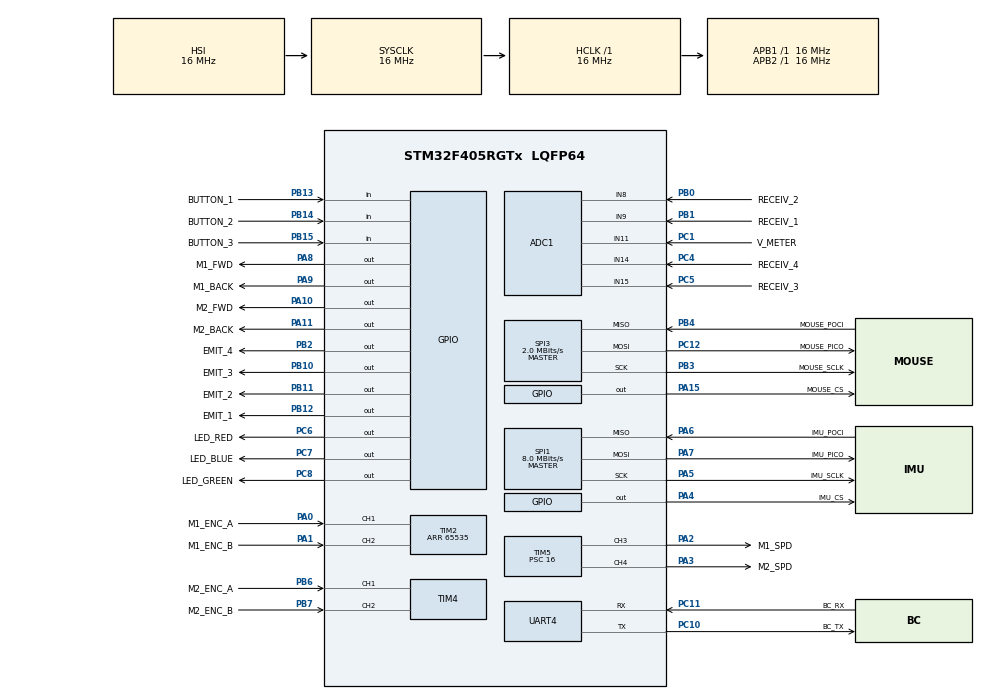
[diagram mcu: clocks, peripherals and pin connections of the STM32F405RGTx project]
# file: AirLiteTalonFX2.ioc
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ADC1.Channel-0\#ChannelRegularConversion=ADC_CHANNEL_14
ADC1.NbrOfConversionFlag=1
ADC1.Rank-0\#ChannelRegularConversion=1
ADC1.SamplingTime-0\#ChannelRegularConversion=ADC_SAMPLETIME_3CYCLES
ADC1.master=1
Mcu.Family=STM32F4
Mcu.Name=STM32F405RGTx
Mcu.Package=LQFP64
NVIC.PriorityGroup=NVIC_PRIORITYGROUP_4
NVIC.TIM2_IRQn=true\:0\:0\:false\:false\:true\:true\:true\:true
NVIC.TIM4_IRQn=true\:0\:0\:false\:false\:true\:true\:true\:true
PA0-WKUP.GPIO_Label=M1_ENC_A
PA0-WKUP.Signal=S_TIM2_CH1_ETR
PA1.GPIO_Label=M1_ENC_B
PA1.Signal=S_TIM2_CH2
PA10.GPIO_Label=M2_FWD
PA10.Signal=GPIO_Output
PA11.GPIO_Label=M2_BACK
PA11.Signal=GPIO_Output
PA13.Mode=Serial_Wire
PA13.Signal=SYS_JTMS-SWDIO
PA14.Mode=Serial_Wire
PA14.Signal=SYS_JTCK-SWCLK
PA15.GPIO_Label=MOUSE_CS
PA15.Signal=GPIO_Output
PA2.GPIO_Label=M1_SPD
PA2.Signal=S_TIM5_CH3
PA3.GPIO_Label=M2_SPD
PA3.Signal=S_TIM5_CH4
PA4.GPIO_Label=IMU_CS
PA4.Signal=GPIO_Output
PA5.GPIO_Label=IMU_SCLK
PA5.Mode=Full_Duplex_Master
PA5.Signal=SPI1_SCK
PA6.GPIO_Label=IMU_POCI
PA6.GPIO_PuPd=GPIO_PULLUP
PA6.Mode=Full_Duplex_Master
PA6.Signal=SPI1_MISO
PA7.GPIO_Label=IMU_PICO
PA7.Mode=Full_Duplex_Master
PA7.Signal=SPI1_MOSI
PA8.GPIO_Label=M1_FWD
PA8.Signal=GPIO_Output
PA9.GPIO_Label=M1_BACK
PA9.Signal=GPIO_Output
PB0.GPIO_Label=RECEIV_2
PB0.Signal=ADCx_IN8
PB1.GPIO_Label=RECEIV_1
PB1.Signal=ADCx_IN9
PB10.GPIO_Label=EMIT_3
PB10.Signal=GPIO_Output
PB11.GPIO_Label=EMIT_2
PB11.Signal=GPIO_Output
PB12.GPIO_Label=EMIT_1
PB12.Signal=GPIO_Output
PB13.GPIO_Label=BUTTON_1
PB13.Signal=GPIO_Input
PB14.GPIO_Label=BUTTON_2
PB14.Signal=GPIO_Input
PB15.GPIO_Label=BUTTON_3
PB15.Signal=GPIO_Input
PB2.GPIO_Label=EMIT_4
PB2.Signal=GPIO_Output
PB3.GPIO_Label=MOUSE_SCLK
PB3.Mode=Full_Duplex_Master
PB3.Signal=SPI3_SCK
PB4.GPIO_Label=MOUSE_POCI
PB4.GPIO_PuPd=GPIO_PULLUP
PB4.Mode=Full_Duplex_Master
PB4.Signal=SPI3_MISO
PB6.GPIO_Label=M2_ENC_A
PB6.Signal=S_TIM4_CH1
PB7.GPIO_Label=M2_ENC_B
PB7.Signal=S_TIM4_CH2
PC1.GPIO_Label=V_METER
PC1.Signal=ADCx_IN11
PC10.GPIO_Label=BC_TX
PC10.Mode=Asynchronous
PC10.Signal=UART4_TX
PC11.GPIO_Label=BC_RX
PC11.Mode=Asynchronous
PC11.Signal=UART4_RX
PC12.GPIO_Label=MOUSE_PICO
PC12.Mode=Full_Duplex_Master
PC12.Signal=SPI3_MOSI
PC4.GPIO_Label=RECEIV_4
PC4.Signal=ADCx_IN14
PC5.GPIO_Label=RECEIV_3
PC5.Signal=ADCx_IN15
PC6.GPIO_Label=LED_RED
PC6.GPIO_ModeDefaultOutputPP=GPIO_MODE_OUTPUT_OD
PC6.GPIO_PuPd=GPIO_PULLUP
PC6.PinState=GPIO_PIN_SET
PC6.Signal=GPIO_Output
PC7.GPIO_Label=LED_BLUE
PC7.GPIO_ModeDefaultOutputPP=GPIO_MODE_OUTPUT_OD
PC7.GPIO_PuPd=GPIO_PULLUP
PC7.PinState=GPIO_PIN_SET
PC7.Signal=GPIO_Output
PC8.GPIO_Label=LED_GREEN
PC8.GPIO_ModeDefaultOutputPP=GPIO_MODE_OUTPUT_OD
PC8.GPIO_PuPd=GPIO_PULLUP
PC8.PinState=GPIO_PIN_SET
PC8.Signal=GPIO_Output
PH0-OSC_IN.Mode=HSE-External-Clock-Source
PH0-OSC_IN.Signal=RCC_OSC_IN
PH1-OSC_OUT.Mode=HSE-External-Clock-Source
PH1-OSC_OUT.Signal=RCC_OSC_OUT
ProjectManager.HeapSize=0x200
ProjectManager.StackSize=0x400
ProjectManager.TargetToolchain=STM32CubeIDE
RCC.AHBFreq_Value=16000000
RCC.APB1Freq_Value=16000000
RCC.APB2Freq_Value=16000000
RCC.CortexFreq_Value=16000000
RCC.HSE_VALUE=25000000
RCC.HSI_VALUE=16000000
RCC.LSE_VALUE=32768
RCC.SYSCLKFreq_VALUE=16000000
RCC.VCOOutputFreq_Value=192000000
SH.ADCx_IN11.0=ADC1_IN11,IN11
SH.ADCx_IN14.0=ADC1_IN14,IN14
SH.ADCx_IN15.0=ADC1_IN15,IN15
SH.ADCx_IN8.0=ADC1_IN8,IN8
SH.ADCx_IN9.0=ADC1_IN9,IN9
SH.S_TIM2_CH1_ETR.0=TIM2_CH1,Encoder_Interface
SH.S_TIM2_CH2.0=TIM2_CH2,Encoder_Interface
SH.S_TIM4_CH1.0=TIM4_CH1,Encoder_Interface
SH.S_TIM4_CH2.0=TIM4_CH2,Encoder_Interface
SH.S_TIM5_CH3.0=TIM5_CH3,PWM Generation3 CH3
SH.S_TIM5_CH4.0=TIM5_CH4,PWM Generation4 CH4
SPI1.CalculateBaudRate=8.0 MBits/s
SPI1.Direction=SPI_DIRECTION_2LINES
SPI1.Mode=SPI_MODE_MASTER
SPI1.VirtualType=VM_MASTER
SPI3.BaudRatePrescaler=SPI_BAUDRATEPRESCALER_8
SPI3.CLKPhase=SPI_PHASE_2EDGE
SPI3.CLKPolarity=SPI_POLARITY_HIGH
SPI3.CalculateBaudRate=2.0 MBits/s
SPI3.Direction=SPI_DIRECTION_2LINES
SPI3.Mode=SPI_MODE_MASTER
SPI3.VirtualType=VM_MASTER
TIM2.EncoderMode=TIM_ENCODERMODE_TI12
TIM2.Period=65535
TIM4.EncoderMode=TIM_ENCODERMODE_TI12
TIM5.AutoReloadPreload=TIM_AUTORELOAD_PRELOAD_ENABLE
TIM5.Channel-PWM\ Generation3\ CH3=TIM_CHANNEL_3
TIM5.Channel-PWM\ Generation4\ CH4=TIM_CHANNEL_4
TIM5.Period=1024
TIM5.Prescaler=16
UART4.VirtualMode=Asynchronous
board=custom

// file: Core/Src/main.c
/* USER CODE BEGIN Header */
/**
  ******************************************************************************
  * @file           : main.c
  * @brief          : Main program body
  ******************************************************************************
  * @attention
  *
  * Copyright (c) 2026 STMicroelectronics.
  * All rights reserved.
  *
  * This software is licensed under terms that can be found in the LICENSE file
  * in the root directory of this software component.
  * If no LICENSE file comes with this software, it is provided AS-IS.
  *
  ******************************************************************************
  */
/* USER CODE END Header */
#include "main.h"

/* USER CODE BEGIN Includes */
#include "stdbool.h"
#include "stdlib.h"
#include "string.h"
#include "arm_math.h"

#include "imu.h"
#include "mouse.h"
#include "motor.h"
#include "encoder.h"
#include "quaternion.h"
#include "ekf.h"
#include "stat_tracker.h"
#include "dsens.h"

/* USER CODE END Includes */

ADC_HandleTypeDef hadc1;

SPI_HandleTypeDef hspi1;
SPI_HandleTypeDef hspi3;

TIM_HandleTypeDef htim2;
TIM_HandleTypeDef htim4;
TIM_HandleTypeDef htim5;

UART_HandleTypeDef huart4;

void SystemClock_Config(void);
static void MX_GPIO_Init(void);
static void MX_ADC1_Init(void);
static void MX_SPI1_Init(void);
static void MX_TIM5_Init(void);
static void MX_SPI3_Init(void);
static void MX_TIM2_Init(void);
static void MX_TIM4_Init(void);
static void MX_UART4_Init(void);
/* USER CODE BEGIN PFP */
void CalibrateSensors(float32_t *gyroOffset, float32_t *R_gyro, float32_t *R_v, float32_t *R_w);
/* USER CODE END PFP */

/* USER CODE BEGIN 0 */

float32_t x_theta = 0;
float32_t y_theta = 0;
float32_t z_theta = 0;

float32_t R_gyro_yaw = 0.05f;
float32_t R_mouse_v = 0.2f;
float32_t R_mouse_w = 0.3f;

float32_t mouse_x_velo = 0;
float32_t mouse_omega = 0;
float32_t mouse_omega_deg = 0;
float32_t mouse_theta_est = 0;

float32_t rotation_quat[4] = {1, 0, 0, 0};

float32_t flDist = 0;
float32_t lDist = 0;
float32_t rDist = 0;
float32_t frDist = 0;

uint32_t last_button1_time = 0;
uint32_t last_button2_time = 0;
uint32_t last_button3_time = 0;
uint32_t debounce_delay = 50;

EKF stateFilter = {0};

Motor rightMotor = {0};
Motor leftMotor = {0};

Encoder rightEncoder = {0};
Encoder leftEncoder = {0};

DSens flSens = {0};
DSens lSens = {0};
DSens rSens = {0};
DSens frSens = {0};

volatile uint32_t us_multiplier;

void HAL_TIM_IC_CaptureCallback(TIM_HandleTypeDef *htim) {
	uint32_t currentCount = __HAL_TIM_GET_COUNTER(htim);
	Encoder_Callback(&leftEncoder, htim, currentCount);
	Encoder_Callback(&rightEncoder, htim, currentCount);
}

void HAL_GPIO_EXTI_Callback(uint16_t GPIO_Pin) {
	uint32_t current_tick = HAL_GetTick();
	if(GPIO_Pin == BUTTON_1_Pin && (current_tick - last_button1_time > debounce_delay)) {
		HAL_GPIO_TogglePin(LED_RED_GPIO_Port, LED_RED_Pin);
		last_button1_time = current_tick;
	} else if(GPIO_Pin == BUTTON_2_Pin && (current_tick - last_button2_time > debounce_delay)) {
		HAL_GPIO_TogglePin(LED_BLUE_GPIO_Port, LED_BLUE_Pin);
		last_button2_time = current_tick;
	} else if(GPIO_Pin == BUTTON_3_Pin && (current_tick - last_button3_time > debounce_delay)) {
		HAL_GPIO_TogglePin(LED_GREEN_GPIO_Port, LED_GREEN_Pin);
		last_button3_time = current_tick;
	}
}

// Call this function inside main() BEFORE using the mouse
void DWT_Init(void) {
    CoreDebug->DEMCR |= CoreDebug_DEMCR_TRCENA_Msk;
    DWT->CYCCNT = 0;
    DWT->CTRL |= DWT_CTRL_CYCCNTENA_Msk;

    // Use HAL_RCC_GetHCLKFreq() here to get the exact system logic freq
    uint32_t freq = HAL_RCC_GetHCLKFreq();

    // Calculate how many ticks are in 1 microsecond
    us_multiplier = freq / 1000000;
}

void delay_us(uint32_t us) {
    uint32_t startTick = DWT->CYCCNT;
    uint32_t ticksNeeded = us * us_multiplier;

    while ((DWT->CYCCNT - startTick) < ticksNeeded);
}

/* USER CODE END 0 */

int main(void)
{

  /* MCU Configuration--------------------------------------------------------*/

  /* Reset of all peripherals, Initializes the Flash interface and the Systick. */
  HAL_Init();

  /* Configure the system clock */
  SystemClock_Config();

  /* USER CODE BEGIN SysInit */

  // Enable CPU timer
  DWT_Init();

  /* USER CODE END SysInit */

  /* Initialize all configured peripherals */
  MX_GPIO_Init();
  MX_ADC1_Init();
  MX_SPI1_Init();
  MX_TIM5_Init();
  MX_SPI3_Init();
  MX_TIM2_Init();
  MX_TIM4_Init();
  MX_UART4_Init();
  /* USER CODE BEGIN 2 */

  bool mouse_connected = Mouse_Init(&hspi3);
  bool imu_connected = IMU_Init(&hspi1);

  float32_t gyroOffset[3];
  IMU_CalibrateGyro(&hspi1, gyroOffset);

  float32_t accelReadings[3];
  IMU_ReadAccel(&hspi1, accelReadings);
  IMU_GenGravQuat(rotation_quat, accelReadings);

  EKF_Init(&stateFilter, 0.8f);

  CalibrateSensors(gyroOffset, &R_gyro_yaw, &R_mouse_v, &R_mouse_w);

  stateFilter.process_noise_data[EKF_CalculateIndex(5, 0, 0)] = 1e-4f; // X position variance
  stateFilter.process_noise_data[EKF_CalculateIndex(5, 1, 1)] = 1e-4f; // Y position variance
  stateFilter.process_noise_data[EKF_CalculateIndex(5, 2, 2)] = 1e-4f; // Yaw variance
  stateFilter.process_noise_data[EKF_CalculateIndex(5, 3, 3)] = 1e-2f; // Linear Velocity variance
  stateFilter.process_noise_data[EKF_CalculateIndex(5, 4, 4)] = 1e-2f; // Angular Velocity variance

  stateFilter.measurement_noise_data[EKF_CalculateIndex(5, 0, 0)] = 0.1f;  // Left Encoder jitter
  stateFilter.measurement_noise_data[EKF_CalculateIndex(5, 1, 1)] = 0.1f;  // Right Encoder jitter
  stateFilter.measurement_noise_data[EKF_CalculateIndex(5, 2, 2)] = R_gyro_yaw;
  stateFilter.measurement_noise_data[EKF_CalculateIndex(5, 3, 3)] = R_mouse_v;
  stateFilter.measurement_noise_data[EKF_CalculateIndex(5, 4, 4)] = R_mouse_w;

  bool left_motor_initialized = Motor_Init(&rightMotor, M1_FWD_GPIO_Port, M1_BACK_GPIO_Port, M1_FWD_Pin, M1_BACK_Pin, &TIM5->CCR3, &htim5, TIM_CHANNEL_3, true);
  bool right_motor_initialized = Motor_Init(&leftMotor, M2_FWD_GPIO_Port, M2_BACK_GPIO_Port, M2_FWD_Pin, M2_BACK_Pin, &TIM5->CCR4, &htim5, TIM_CHANNEL_4, false);

  bool left_encoder_initialized = Encoder_Init(&rightEncoder, &htim2, true, 1.0f / 5968.31f);
  bool right_encoder_initialized = Encoder_Init(&leftEncoder, &htim4, false, 1.0f / 5968.31f);

  DSens_Init(&flSens, EMIT_1_GPIO_Port, EMIT_1_Pin, &hadc1, ADC_CHANNEL_9, 309608344.0f, -2.02718f);
  DSens_Init(&lSens, EMIT_2_GPIO_Port, EMIT_2_Pin, &hadc1, ADC_CHANNEL_8, 30089.7773f, -0.835766f);
  DSens_Init(&rSens, EMIT_3_GPIO_Port, EMIT_3_Pin, &hadc1, ADC_CHANNEL_15, 587887.835f, -1.21735f);
  DSens_Init(&frSens, EMIT_4_GPIO_Port, EMIT_4_Pin, &hadc1, ADC_CHANNEL_14, 1373374.48f, -1.32993f);

  if (!(mouse_connected && imu_connected && left_motor_initialized && right_motor_initialized && left_encoder_initialized && right_encoder_initialized)) {
	  // Something didn't initialize properly
	  for (int i = 0; i < 50; i++) {
		  HAL_GPIO_TogglePin(LED_RED_GPIO_Port, LED_RED_Pin);
		  HAL_Delay(100);
	  }
  }

  /* USER CODE END 2 */

  /* Infinite loop */
  /* USER CODE BEGIN WHILE */
  uint32_t tickTime = DWT->CYCCNT;
  while (1)
  {
    /* USER CODE END WHILE */

    /* USER CODE BEGIN 3 */

	  MouseData mouseData = {0};
	  Mouse_MotionRead(&hspi3, &mouseData);

	  float32_t gyroReadings[3];
	  float32_t accelReadings[3];

	  IMU_ReadGyroRadPerSec(&hspi1, gyroReadings);
	  IMU_ReadAccel(&hspi1, accelReadings);

	  uint32_t tickTimeNew = DWT->CYCCNT;
	  uint32_t delta = tickTimeNew - tickTime;
	  float32_t dt = (float32_t)delta / (float32_t)HAL_RCC_GetHCLKFreq();
	  tickTime = tickTimeNew;

	  // Gyro processing
	  IMU_ApplyGyroOffset(gyroReadings, gyroOffset);

	  IMU_GyroAccelMadgwickFilter(0.1, rotation_quat, gyroReadings, accelReadings, dt);

	  float32_t rotationEuler[3];
	  Quaternion_To_Euler_Deg(rotation_quat, rotationEuler);

	  x_theta = rotationEuler[0];
	  y_theta = rotationEuler[1];
	  z_theta = rotationEuler[2];

	  // Mouse processing
	  Mouse_GetVelocity(&mouseData, dt, &mouse_x_velo, &mouse_omega);
	  mouse_omega_deg = mouse_omega * 180 / PI;
	  mouse_theta_est += mouse_omega_deg * dt;

	  // Encoder processing
	  Encoder_Tick(&leftEncoder, dt);
	  Encoder_Tick(&rightEncoder, dt);

	  // Distance sensor processing
	  DSens_Update(&flSens);
	  DSens_Update(&lSens);
	  DSens_Update(&rSens);
	  DSens_Update(&frSens);

	  flDist = DSens_GetDist(&flSens);
	  lDist = DSens_GetDist(&lSens);
	  rDist = DSens_GetDist(&rSens);
	  frDist = DSens_GetDist(&frSens);

	  EKF_AddMeasurementAndUpdate(&stateFilter, leftEncoder.rawVeloMeters, rightEncoder.rawVeloMeters, z_theta, mouse_x_velo, mouse_omega, dt);

	  const float32_t kp = 1;
	  const float32_t error = 1 - EKF_GetPosX(&stateFilter);
	  Motor_Set(&leftMotor, kp * error);
	  Motor_Set(&rightMotor, kp * error);
  }
  /* USER CODE END 3 */
}

void SystemClock_Config(void)
{
  RCC_OscInitTypeDef RCC_OscInitStruct = {0};
  RCC_ClkInitTypeDef RCC_ClkInitStruct = {0};

  /** Configure the main internal regulator output voltage
  */
  __HAL_RCC_PWR_CLK_ENABLE();
  __HAL_PWR_VOLTAGESCALING_CONFIG(PWR_REGULATOR_VOLTAGE_SCALE1);

  /** Initializes the RCC Oscillators according to the specified parameters
  * in the RCC_OscInitTypeDef structure.
  */
  RCC_OscInitStruct.OscillatorType = RCC_OSCILLATORTYPE_HSI;
  RCC_OscInitStruct.HSIState = RCC_HSI_ON;
  RCC_OscInitStruct.HSICalibrationValue = RCC_HSICALIBRATION_DEFAULT;
  RCC_OscInitStruct.PLL.PLLState = RCC_PLL_NONE;
  if (HAL_RCC_OscConfig(&RCC_OscInitStruct) != HAL_OK)
  {
    Error_Handler();
  }

  /** Initializes the CPU, AHB and APB buses clocks
  */
  RCC_ClkInitStruct.ClockType = RCC_CLOCKTYPE_HCLK|RCC_CLOCKTYPE_SYSCLK
                              |RCC_CLOCKTYPE_PCLK1|RCC_CLOCKTYPE_PCLK2;
  RCC_ClkInitStruct.SYSCLKSource = RCC_SYSCLKSOURCE_HSI;
  RCC_ClkInitStruct.AHBCLKDivider = RCC_SYSCLK_DIV1;
  RCC_ClkInitStruct.APB1CLKDivider = RCC_HCLK_DIV1;
  RCC_ClkInitStruct.APB2CLKDivider = RCC_HCLK_DIV1;

  if (HAL_RCC_ClockConfig(&RCC_ClkInitStruct, FLASH_LATENCY_0) != HAL_OK)
  {
    Error_Handler();
  }
}

static void MX_ADC1_Init(void)
{

  ADC_ChannelConfTypeDef sConfig = {0};

  /** Configure the global features of the ADC (Clock, Resolution, Data Alignment and number of conversion)
  */
  hadc1.Instance = ADC1;
  hadc1.Init.ClockPrescaler = ADC_CLOCK_SYNC_PCLK_DIV2;
  hadc1.Init.Resolution = ADC_RESOLUTION_12B;
  hadc1.Init.ScanConvMode = DISABLE;
  hadc1.Init.ContinuousConvMode = DISABLE;
  hadc1.Init.DiscontinuousConvMode = DISABLE;
  hadc1.Init.ExternalTrigConvEdge = ADC_EXTERNALTRIGCONVEDGE_NONE;
  hadc1.Init.ExternalTrigConv = ADC_SOFTWARE_START;
  hadc1.Init.DataAlign = ADC_DATAALIGN_RIGHT;
  hadc1.Init.NbrOfConversion = 1;
  hadc1.Init.DMAContinuousRequests = DISABLE;
  hadc1.Init.EOCSelection = ADC_EOC_SINGLE_CONV;
  if (HAL_ADC_Init(&hadc1) != HAL_OK)
  {
    Error_Handler();
  }

  /** Configure for the selected ADC regular channel its corresponding rank in the sequencer and its sample time.
  */
  sConfig.Channel = ADC_CHANNEL_14;
  sConfig.Rank = 1;
  sConfig.SamplingTime = ADC_SAMPLETIME_3CYCLES;
  if (HAL_ADC_ConfigChannel(&hadc1, &sConfig) != HAL_OK)
  {
    Error_Handler();
  }

}

static void MX_SPI1_Init(void)
{

  /* SPI1 parameter configuration*/
  hspi1.Instance = SPI1;
  hspi1.Init.Mode = SPI_MODE_MASTER;
  hspi1.Init.Direction = SPI_DIRECTION_2LINES;
  hspi1.Init.DataSize = SPI_DATASIZE_8BIT;
  hspi1.Init.CLKPolarity = SPI_POLARITY_LOW;
  hspi1.Init.CLKPhase = SPI_PHASE_1EDGE;
  hspi1.Init.NSS = SPI_NSS_SOFT;
  hspi1.Init.BaudRatePrescaler = SPI_BAUDRATEPRESCALER_2;
  hspi1.Init.FirstBit = SPI_FIRSTBIT_MSB;
  hspi1.Init.TIMode = SPI_TIMODE_DISABLE;
  hspi1.Init.CRCCalculation = SPI_CRCCALCULATION_DISABLE;
  hspi1.Init.CRCPolynomial = 10;
  if (HAL_SPI_Init(&hspi1) != HAL_OK)
  {
    Error_Handler();
  }

}

static void MX_SPI3_Init(void)
{

  /* SPI3 parameter configuration*/
  hspi3.Instance = SPI3;
  hspi3.Init.Mode = SPI_MODE_MASTER;
  hspi3.Init.Direction = SPI_DIRECTION_2LINES;
  hspi3.Init.DataSize = SPI_DATASIZE_8BIT;
  hspi3.Init.CLKPolarity = SPI_POLARITY_HIGH;
  hspi3.Init.CLKPhase = SPI_PHASE_2EDGE;
  hspi3.Init.NSS = SPI_NSS_SOFT;
  hspi3.Init.BaudRatePrescaler = SPI_BAUDRATEPRESCALER_8;
  hspi3.Init.FirstBit = SPI_FIRSTBIT_MSB;
  hspi3.Init.TIMode = SPI_TIMODE_DISABLE;
  hspi3.Init.CRCCalculation = SPI_CRCCALCULATION_DISABLE;
  hspi3.Init.CRCPolynomial = 10;
  if (HAL_SPI_Init(&hspi3) != HAL_OK)
  {
    Error_Handler();
  }

}

static void MX_TIM2_Init(void)
{

  TIM_Encoder_InitTypeDef sConfig = {0};
  TIM_MasterConfigTypeDef sMasterConfig = {0};

  htim2.Instance = TIM2;
  htim2.Init.Prescaler = 0;
  htim2.Init.CounterMode = TIM_COUNTERMODE_UP;
  htim2.Init.Period = 65535;
  htim2.Init.ClockDivision = TIM_CLOCKDIVISION_DIV1;
  htim2.Init.AutoReloadPreload = TIM_AUTORELOAD_PRELOAD_DISABLE;
  sConfig.EncoderMode = TIM_ENCODERMODE_TI12;
  sConfig.IC1Polarity = TIM_ICPOLARITY_RISING;
  sConfig.IC1Selection = TIM_ICSELECTION_DIRECTTI;
  sConfig.IC1Prescaler = TIM_ICPSC_DIV1;
  sConfig.IC1Filter = 0;
  sConfig.IC2Polarity = TIM_ICPOLARITY_RISING;
  sConfig.IC2Selection = TIM_ICSELECTION_DIRECTTI;
  sConfig.IC2Prescaler = TIM_ICPSC_DIV1;
  sConfig.IC2Filter = 0;
  if (HAL_TIM_Encoder_Init(&htim2, &sConfig) != HAL_OK)
  {
    Error_Handler();
  }
  sMasterConfig.MasterOutputTrigger = TIM_TRGO_RESET;
  sMasterConfig.MasterSlaveMode = TIM_MASTERSLAVEMODE_DISABLE;
  if (HAL_TIMEx_MasterConfigSynchronization(&htim2, &sMasterConfig) != HAL_OK)
  {
    Error_Handler();
  }

}

static void MX_TIM4_Init(void)
{

  TIM_Encoder_InitTypeDef sConfig = {0};
  TIM_MasterConfigTypeDef sMasterConfig = {0};

  htim4.Instance = TIM4;
  htim4.Init.Prescaler = 0;
  htim4.Init.CounterMode = TIM_COUNTERMODE_UP;
  htim4.Init.Period = 65535;
  htim4.Init.ClockDivision = TIM_CLOCKDIVISION_DIV1;
  htim4.Init.AutoReloadPreload = TIM_AUTORELOAD_PRELOAD_DISABLE;
  sConfig.EncoderMode = TIM_ENCODERMODE_TI12;
  sConfig.IC1Polarity = TIM_ICPOLARITY_RISING;
  sConfig.IC1Selection = TIM_ICSELECTION_DIRECTTI;
  sConfig.IC1Prescaler = TIM_ICPSC_DIV1;
  sConfig.IC1Filter = 0;
  sConfig.IC2Polarity = TIM_ICPOLARITY_RISING;
  sConfig.IC2Selection = TIM_ICSELECTION_DIRECTTI;
  sConfig.IC2Prescaler = TIM_ICPSC_DIV1;
  sConfig.IC2Filter = 0;
  if (HAL_TIM_Encoder_Init(&htim4, &sConfig) != HAL_OK)
  {
    Error_Handler();
  }
  sMasterConfig.MasterOutputTrigger = TIM_TRGO_RESET;
  sMasterConfig.MasterSlaveMode = TIM_MASTERSLAVEMODE_DISABLE;
  if (HAL_TIMEx_MasterConfigSynchronization(&htim4, &sMasterConfig) != HAL_OK)
  {
    Error_Handler();
  }

}

static void MX_TIM5_Init(void)
{

  TIM_MasterConfigTypeDef sMasterConfig = {0};
  TIM_OC_InitTypeDef sConfigOC = {0};

  htim5.Instance = TIM5;
  htim5.Init.Prescaler = 16;
  htim5.Init.CounterMode = TIM_COUNTERMODE_UP;
  htim5.Init.Period = 1024;
  htim5.Init.ClockDivision = TIM_CLOCKDIVISION_DIV1;
  htim5.Init.AutoReloadPreload = TIM_AUTORELOAD_PRELOAD_ENABLE;
  if (HAL_TIM_PWM_Init(&htim5) != HAL_OK)
  {
    Error_Handler();
  }
  sMasterConfig.MasterOutputTrigger = TIM_TRGO_RESET;
  sMasterConfig.MasterSlaveMode = TIM_MASTERSLAVEMODE_DISABLE;
  if (HAL_TIMEx_MasterConfigSynchronization(&htim5, &sMasterConfig) != HAL_OK)
  {
    Error_Handler();
  }
  sConfigOC.OCMode = TIM_OCMODE_PWM1;
  sConfigOC.Pulse = 0;
  sConfigOC.OCPolarity = TIM_OCPOLARITY_HIGH;
  sConfigOC.OCFastMode = TIM_OCFAST_DISABLE;
  if (HAL_TIM_PWM_ConfigChannel(&htim5, &sConfigOC, TIM_CHANNEL_3) != HAL_OK)
  {
    Error_Handler();
  }
  if (HAL_TIM_PWM_ConfigChannel(&htim5, &sConfigOC, TIM_CHANNEL_4) != HAL_OK)
  {
    Error_Handler();
  }
  HAL_TIM_MspPostInit(&htim5);

}

static void MX_UART4_Init(void)
{

  huart4.Instance = UART4;
  huart4.Init.BaudRate = 115200;
  huart4.Init.WordLength = UART_WORDLENGTH_8B;
  huart4.Init.StopBits = UART_STOPBITS_1;
  huart4.Init.Parity = UART_PARITY_NONE;
  huart4.Init.Mode = UART_MODE_TX_RX;
  huart4.Init.HwFlowCtl = UART_HWCONTROL_NONE;
  huart4.Init.OverSampling = UART_OVERSAMPLING_16;
  if (HAL_UART_Init(&huart4) != HAL_OK)
  {
    Error_Handler();
  }

}

static void MX_GPIO_Init(void)
{
  GPIO_InitTypeDef GPIO_InitStruct = {0};

  /* GPIO Ports Clock Enable */
  __HAL_RCC_GPIOH_CLK_ENABLE();
  __HAL_RCC_GPIOC_CLK_ENABLE();
  __HAL_RCC_GPIOA_CLK_ENABLE();
  __HAL_RCC_GPIOB_CLK_ENABLE();

  /*Configure GPIO pin Output Level */
  HAL_GPIO_WritePin(GPIOA, IMU_CS_Pin|M1_FWD_Pin|M1_BACK_Pin|M2_FWD_Pin
                          |M2_BACK_Pin|MOUSE_CS_Pin, GPIO_PIN_RESET);

  /*Configure GPIO pin Output Level */
  HAL_GPIO_WritePin(GPIOB, EMIT_4_Pin|EMIT_3_Pin|EMIT_2_Pin|EMIT_1_Pin, GPIO_PIN_RESET);

  /*Configure GPIO pin Output Level */
  HAL_GPIO_WritePin(GPIOC, LED_RED_Pin|LED_BLUE_Pin|LED_GREEN_Pin, GPIO_PIN_SET);

  /*Configure GPIO pins : IMU_CS_Pin M1_FWD_Pin M1_BACK_Pin M2_FWD_Pin
                           M2_BACK_Pin MOUSE_CS_Pin */
  GPIO_InitStruct.Pin = IMU_CS_Pin|M1_FWD_Pin|M1_BACK_Pin|M2_FWD_Pin
                          |M2_BACK_Pin|MOUSE_CS_Pin;
  GPIO_InitStruct.Mode = GPIO_MODE_OUTPUT_PP;
  GPIO_InitStruct.Pull = GPIO_NOPULL;
  GPIO_InitStruct.Speed = GPIO_SPEED_FREQ_LOW;
  HAL_GPIO_Init(GPIOA, &GPIO_InitStruct);

  /*Configure GPIO pins : EMIT_4_Pin EMIT_3_Pin EMIT_2_Pin EMIT_1_Pin */
  GPIO_InitStruct.Pin = EMIT_4_Pin|EMIT_3_Pin|EMIT_2_Pin|EMIT_1_Pin;
  GPIO_InitStruct.Mode = GPIO_MODE_OUTPUT_PP;
  GPIO_InitStruct.Pull = GPIO_NOPULL;
  GPIO_InitStruct.Speed = GPIO_SPEED_FREQ_LOW;
  HAL_GPIO_Init(GPIOB, &GPIO_InitStruct);

  /*Configure GPIO pins : BUTTON_1_Pin BUTTON_2_Pin BUTTON_3_Pin */
  GPIO_InitStruct.Pin = BUTTON_1_Pin|BUTTON_2_Pin|BUTTON_3_Pin;
  GPIO_InitStruct.Mode = GPIO_MODE_IT_RISING;
  GPIO_InitStruct.Pull = GPIO_NOPULL;
  HAL_GPIO_Init(GPIOB, &GPIO_InitStruct);

  /*Configure GPIO pins : LED_RED_Pin LED_BLUE_Pin LED_GREEN_Pin */
  GPIO_InitStruct.Pin = LED_RED_Pin|LED_BLUE_Pin|LED_GREEN_Pin;
  GPIO_InitStruct.Mode = GPIO_MODE_OUTPUT_OD;
  GPIO_InitStruct.Pull = GPIO_PULLUP;
  GPIO_InitStruct.Speed = GPIO_SPEED_FREQ_LOW;
  HAL_GPIO_Init(GPIOC, &GPIO_InitStruct);

  /* EXTI interrupt init*/
  HAL_NVIC_SetPriority(EXTI15_10_IRQn, 0, 0);
  HAL_NVIC_EnableIRQ(EXTI15_10_IRQn);

}

/* USER CODE BEGIN 4 */
void CalibrateSensors(float32_t *gyroOffset, float32_t *R_gyro, float32_t *R_v, float32_t *R_w) {
  StatTracker gyroStats = {0};
  StatTracker mouseVStats = {0};
  StatTracker mouseWStats = {0};

  uint32_t tickTime = DWT->CYCCNT;

  for (int i = 0; i < 1000; i++) {
	  float32_t g[3];
	  IMU_ReadGyroRadPerSec(&hspi1, g);
	  IMU_ApplyGyroOffset(g, gyroOffset);
	  StatTracker_Update(&gyroStats, g[2]);

	  MouseData mData = {0};
	  Mouse_MotionRead(&hspi3, &mData);

	  uint32_t tickTimeNew = DWT->CYCCNT;
	  uint32_t delta = tickTimeNew - tickTime;
	  float32_t dt = (float32_t)delta / (float32_t)HAL_RCC_GetHCLKFreq();
	  tickTime = tickTimeNew;

	  float32_t v, w;
	  Mouse_GetVelocity(&mData, dt, &v, &w);

	  StatTracker_Update(&mouseVStats, v);
	  StatTracker_Update(&mouseWStats, w);

	  HAL_Delay(2);
  }

  *R_gyro = StatTracker_GetVariance(&gyroStats);
  *R_v = StatTracker_GetVariance(&mouseVStats);
  *R_w = StatTracker_GetVariance(&mouseWStats);

  // Clamp to avoid zero variance
  if (*R_gyro < 1e-6f) *R_gyro = 1e-6f;
  if (*R_v < 1e-6f) *R_v = 1e-6f;
  if (*R_w < 1e-6f) *R_w = 1e-6f;
}
/* USER CODE END 4 */

void Error_Handler(void)
{
  __disable_irq();
  while (1)
  {
  }
}
